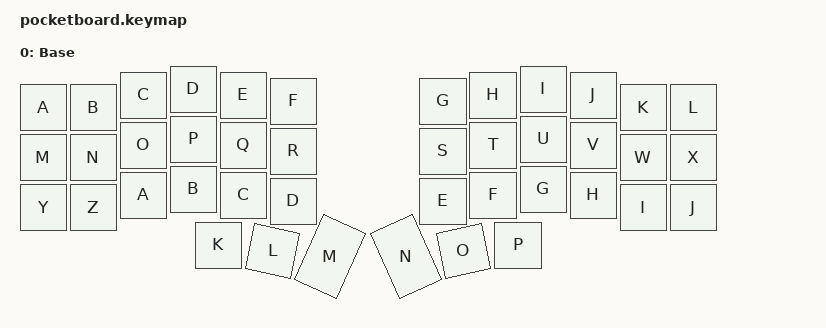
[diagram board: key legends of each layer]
#include <behaviors.dtsi>
#include <dt-bindings/zmk/keys.h>

/ {
    /*
     * Easy flashing shortcut:
     * press the two OUTER keys of the LEFT thumb cluster together
     * (positions 36 + 38) to reboot the nice!nano into UF2 bootloader mode.
     */
    combos {
        compatible = "zmk,combos";

        combo_bootloader {
            timeout-ms = <250>;
            key-positions = <36 38>;
            bindings = <&bootloader>;
        };
    };

    keymap {
        compatible = "zmk,keymap";

        default_layer {
            display-name = "Base";
            bindings = <
                &kp A &kp B &kp C &kp D &kp E &kp F &kp G &kp H &kp I &kp J &kp K &kp L
                &kp M &kp N &kp O &kp P &kp Q &kp R &kp S &kp T &kp U &kp V &kp W &kp X
                &kp Y &kp Z &kp A &kp B &kp C &kp D &kp E &kp F &kp G &kp H &kp I &kp J
                &kp K &kp L &kp M &kp N &kp O &kp P
            >;
        };
    };
};
